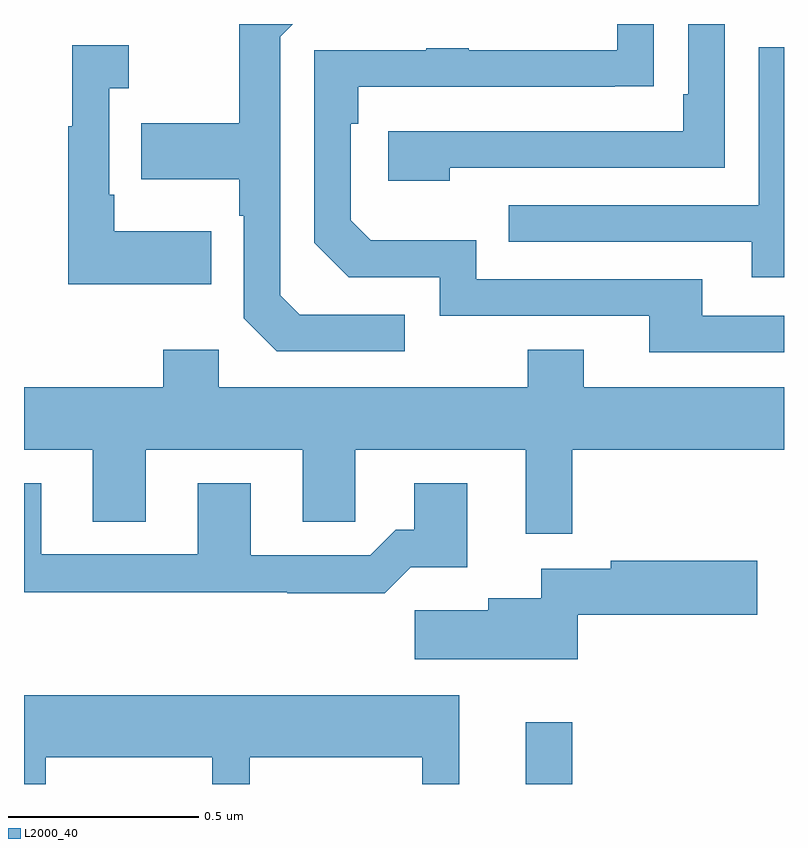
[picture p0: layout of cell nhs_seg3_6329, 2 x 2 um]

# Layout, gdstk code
import gdstk
lib = gdstk.Library(unit=1e-6, precision=1e-09)
def R(c, l, rs):  # rectangles x0, y0, x1, y1
    for r in rs: c.add(gdstk.rectangle(r[:2], r[2:], *l))
def P(c, l, *ps):  # polygons
    for p in ps: c.add(gdstk.Polygon(p, *l))
L2000_40 = (2000, 40)

nhs_seg3_6329 = lib.new_cell('nhs_seg3_6329')
R(nhs_seg3_6329, L2000_40, [(191.321,669.4,191.443,669.562)])
P(nhs_seg3_6329, L2000_40, [(191.002,670.635),(190.725,670.635),(190.674,670.686),(190.674,671.367),(190.707,671.4),(190.566,671.4),(190.566,671.139),(190.309,671.139),(190.309,670.991),(190.566,670.991),(190.566,670.895),(190.578,670.895),(190.578,670.626),(190.665,670.539),(191.002,670.539)],
  [(192,670.632),(191.785,670.632),(191.785,670.728),(191.19,670.728),(191.19,670.831),(190.913,670.831),(190.86,670.884),(190.86,671.138),(190.88,671.138),(190.88,671.235),(191.555,671.235),(191.555,671.236),(191.657,671.236),(191.657,671.4),(191.561,671.4),(191.561,671.331),(191.171,671.331),(191.171,671.336),(191.059,671.336),(191.059,671.331),(190.764,671.331),(190.764,670.824),(190.854,670.734),(191.094,670.734),(191.094,670.632),(191.645,670.632),(191.645,670.536),(192,670.536)],
  [(191.12,671.022),(191.844,671.022),(191.844,671.4),(191.748,671.4),(191.748,671.215),(191.735,671.215),(191.735,671.118),(190.959,671.118),(190.959,670.988),(191.12,670.988)],
  [(190.493,670.855),(190.237,670.855),(190.237,670.951),(190.224,670.951),(190.224,671.231),(190.276,671.231),(190.276,671.344),(190.127,671.344),(190.127,671.131),(190.116,671.131),(190.116,670.715),(190.493,670.715)],
  [(192,671.339),(191.934,671.339),(191.934,670.923),(191.275,670.923),(191.275,670.827),(191.915,670.827),(191.915,670.733),(192,670.733)],
  [(191.443,670.28),(192,670.28),(192,670.444),(191.473,670.444),(191.473,670.543),(191.326,670.543),(191.326,670.444),(190.512,670.444),(190.512,670.543),(190.366,670.543),(190.366,670.444),(190,670.444),(190,670.28),(190.181,670.28),(190.181,670.09),(190.321,670.09),(190.321,670.28),(190.733,670.28),(190.733,670.09),(190.872,670.09),(190.872,670.28),(191.321,670.28),(191.321,670.059),(191.443,670.059)],
  [(191.018,669.971),(191.167,669.971),(191.167,670.192),(191.027,670.192),(191.027,670.069),(190.978,670.069),(190.911,670.002),(190.597,670.002),(190.597,670.192),(190.457,670.192),(190.457,670.005),(190.045,670.005),(190.045,670.192),(190,670.192),(190,669.904),(190.693,669.904),(190.693,669.902),(190.949,669.902)],
  [(191.457,669.845),(191.929,669.845),(191.929,669.987),(191.544,669.987),(191.544,669.967),(191.361,669.967),(191.361,669.889),(191.222,669.889),(191.222,669.857),(191.028,669.857),(191.028,669.728),(191.457,669.728)],
  [(190.057,669.47),(190.496,669.47),(190.496,669.4),(190.594,669.4),(190.594,669.47),(191.048,669.47),(191.048,669.4),(191.146,669.4),(191.146,669.634),(190,669.634),(190,669.4),(190.057,669.4)])

lib.write_gds('nhs_seg3_6329.gds')
